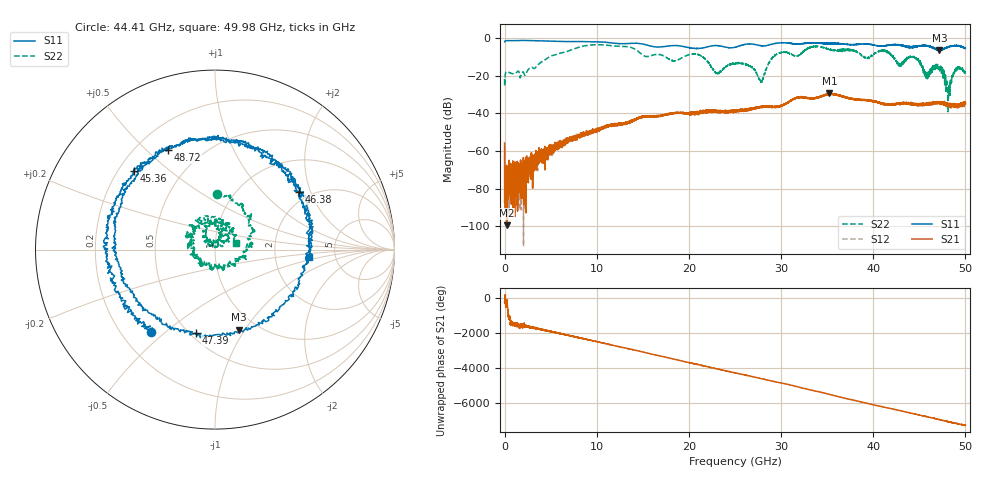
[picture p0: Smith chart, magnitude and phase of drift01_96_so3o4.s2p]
!Created with skrf (http://scikit-rf.org).
# Hz S RI R 50.0
!freq ReS11 ImS11 ReS21 ImS21 ReS12 ImS12 ReS22 ImS22
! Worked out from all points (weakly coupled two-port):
!   10001 points, 300 kHz to 50 GHz, reference 50 ohm
!   highest |S21| = -29.49 dB at 35.25 GHz (marker M1); lowest = -99.5 dB at 240.3 MHz (marker M2)
!   lowest |S11| = -6.6 dB at 47.18 GHz (marker M3), VSWR 2.75, Z = 41.3 - j47.1 ohm
!   |S11| at or under -10 dB: nowhere
!   |S22| runs from -39.1 to -3.6 dB; largest |S21 - S12| = 0.0038
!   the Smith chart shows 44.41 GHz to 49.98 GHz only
!   S11 on the Smith chart (normalised r, x): 44.41 GHz: 0.33, -0.45; 45.36 GHz: 0.26, +0.38; 46.38 GHz: 1.75, +1.67; 47.39 GHz: 0.54, -0.65; 48.72 GHz: 0.33, +0.59; 49.98 GHz: 3.18, -0.34
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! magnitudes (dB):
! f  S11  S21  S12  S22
! 300 kHz  -2.1  -55.8  -62.4  -21.8
! 240.3 MHz  -1.4  -99.5  -73.1  -18.0
! 8.335 GHz  -1.9  -51.9  -51.8  -4.5
! 16.67 GHz  -4.8  -41.6  -41.5  -8.7
! 20.96 GHz  -5.6  -39.5  -39.5  -8.7
! 23.08 GHz  -4.1  -39.0  -38.8  -18.7
! 25 GHz  -5.0  -38.8  -39.0  -13.7
! 27.84 GHz  -4.1  -36.5  -36.6  -23.0
! 29.47 GHz  -2.8  -36.7  -36.7  -8.8
! 33.34 GHz  -2.6  -32.0  -31.9  -4.7
! 35.25 GHz  -2.9  -29.5  -29.8  -6.0
! 41.67 GHz  -3.9  -35.3  -35.2  -7.7
! 42.84 GHz  -3.9  -35.5  -35.1  -14.1
! 44.41 GHz  -4.8  -35.2  -35.0  -10.2
! 45.36 GHz  -4.0  -34.8  -35.1  -15.1
! 46.38 GHz  -4.9  -34.9  -34.9  -18.3
! 47.18 GHz  -6.6  -34.8  -34.1  -15.1
! 47.39 GHz  -6.4  -34.4  -34.2  -17.8
! 48.13 GHz  -4.9  -34.9  -34.8  -36.3
! 48.72 GHz  -4.2  -35.6  -35.8  -18.6
! 49.98 GHz  -5.6  -34.3  -35.0  -18.3
! 50 GHz  -5.5  -34.5  -35.0  -18.5
